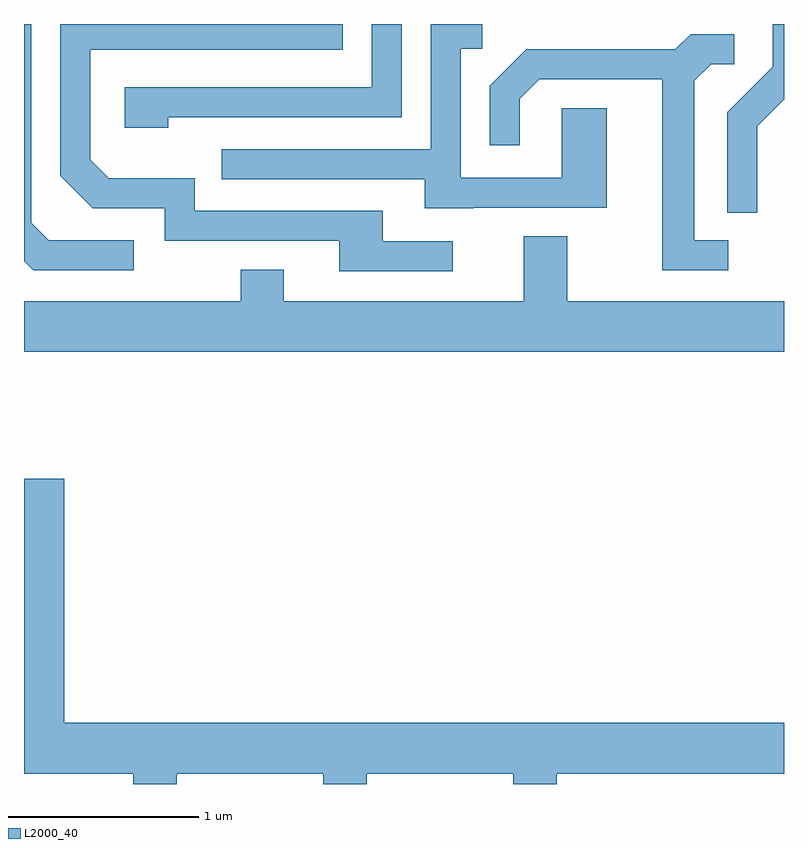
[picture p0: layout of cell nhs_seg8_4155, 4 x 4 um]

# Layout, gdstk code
import gdstk
lib = gdstk.Library(unit=1e-6, precision=1e-09)
def P(c, l, *ps):  # polygons
    for p in ps: c.add(gdstk.Polygon(p, *l))
L2000_40 = (2000, 40)

nhs_seg8_4155 = lib.new_cell('nhs_seg8_4155')
P(nhs_seg8_4155, L2000_40, [(310.188,1859.204),(309.742,1859.204),(309.649,1859.297),(309.649,1860.342),(309.611,1860.342),(309.611,1859.094),(309.659,1859.046),(310.188,1859.046)],
  [(311.868,1859.199),(311.499,1859.199),(311.499,1859.359),(310.509,1859.359),(310.509,1859.529),(310.057,1859.529),(309.959,1859.627),(309.959,1860.206),(311.289,1860.206),(311.289,1860.342),(309.801,1860.342),(309.801,1859.544),(309.974,1859.371),(310.351,1859.371),(310.351,1859.201),(311.271,1859.201),(311.271,1859.041),(311.868,1859.041)],
  [(310.369,1859.851),(311.599,1859.851),(311.599,1860.342),(311.441,1860.342),(311.441,1860.009),(310.141,1860.009),(310.141,1859.796),(310.369,1859.796)],
  [(313.469,1859.804),(313.611,1859.946),(313.611,1860.342),(313.551,1860.342),(313.551,1860.117),(313.311,1859.877),(313.311,1859.348),(313.469,1859.348)],
  [(311.975,1859.376),(312.679,1859.376),(312.679,1859.899),(312.441,1859.899),(312.441,1859.534),(311.909,1859.534),(311.909,1860.211),(312.023,1860.211),(312.023,1860.342),(311.751,1860.342),(311.751,1859.684),(310.653,1859.684),(310.653,1859.526),(311.721,1859.526),(311.721,1859.371),(311.975,1859.371)],
  [(313.318,1859.204),(313.139,1859.204),(313.139,1860.044),(313.227,1860.131),(313.348,1860.131),(313.348,1860.289),(313.119,1860.289),(313.039,1860.209),(312.254,1860.209),(312.061,1860.017),(312.061,1859.703),(312.219,1859.703),(312.219,1859.949),(312.322,1860.051),(312.971,1860.051),(312.971,1859.046),(313.318,1859.046)],
  [(313.611,1858.884),(312.469,1858.884),(312.469,1859.224),(312.241,1859.224),(312.241,1858.884),(310.979,1858.884),(310.979,1859.049),(310.751,1859.049),(310.751,1858.884),(309.611,1858.884),(309.611,1858.616),(313.611,1858.616)],
  [(310.414,1856.396),(311.186,1856.396),(311.186,1856.342),(311.414,1856.342),(311.414,1856.396),(312.186,1856.396),(312.186,1856.342),(312.414,1856.342),(312.414,1856.396),(313.611,1856.396),(313.611,1856.664),(309.824,1856.664),(309.824,1857.949),(309.611,1857.949),(309.611,1856.396),(310.186,1856.396),(310.186,1856.342),(310.414,1856.342)])

lib.write_gds('nhs_seg8_4155.gds')
